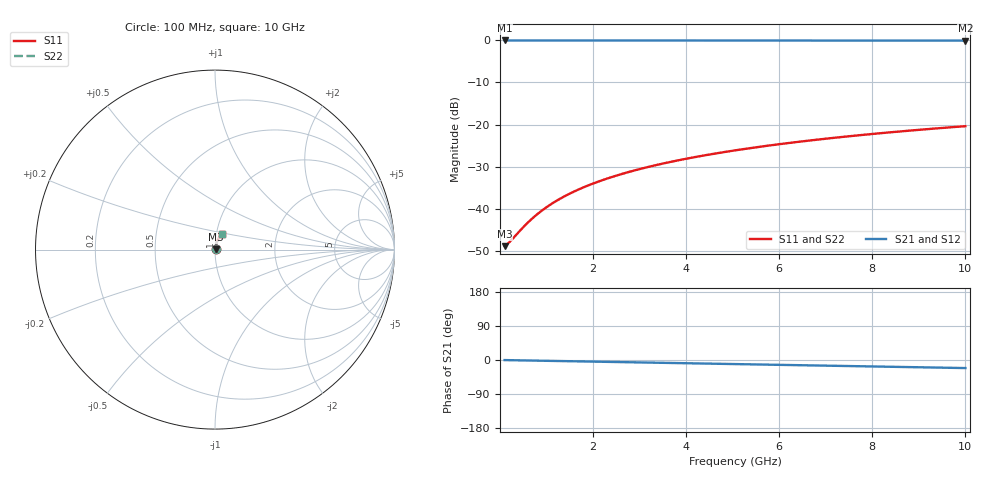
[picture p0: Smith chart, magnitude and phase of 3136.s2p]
# Hz S RI R 50.00
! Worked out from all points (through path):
!   100 points, 100 MHz to 10 GHz, reference 50 ohm
!   highest |S21| = -0.03 dB at 100 MHz (marker M1); lowest = -0.1 dB at 10 GHz (marker M2)
!   group delay of S21, straight-line fit = 5.91 ps
!   lowest |S11| = -48.9 dB at 100 MHz (marker M3), VSWR 1.01, Z = 50.3 + j0.0976 ohm
!   |S11| at or under -10 dB: start of sweep to end of sweep
!   |S22| runs from -48.9 to -20.4 dB; largest |S21 - S12| = 0
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1e8  0.00347 0.000969  0.9965 -0.00371  0.9965 -0.00371  0.00347 0.000969
2e8  0.0035 0.00194  0.9965 -0.00741  0.9965 -0.00741  0.0035 0.00194
5e8  0.00362 0.00484  0.9963 -0.0185  0.9963 -0.0185  0.00362 0.00484
6e8  0.00367 0.00581  0.9962 -0.0222  0.9962 -0.0222  0.00367 0.00581
7e8  0.00372 0.00678  0.9961 -0.0259  0.9961 -0.0259  0.00372 0.00678
9e8  0.00385 0.00871  0.9958 -0.0333  0.9958 -0.0333  0.00385 0.00871
1.1e9  0.00401 0.0106  0.9955 -0.0407  0.9955 -0.0407  0.00401 0.0106
1.3e9  0.00419 0.0126  0.9951 -0.0482  0.9951 -0.0482  0.00419 0.0126
1.5e9  0.0044 0.0145  0.9947 -0.0555  0.9947 -0.0555  0.0044 0.0145
1.8e9  0.00477 0.0174  0.994 -0.0666  0.994 -0.0666  0.00477 0.0174
2.1e9  0.00521 0.0203  0.9931 -0.0777  0.9931 -0.0777  0.00521 0.0203
2.5e9  0.00588 0.0241  0.9917 -0.0925  0.9917 -0.0925  0.00588 0.0241
2.9e9  0.00667 0.0279  0.9901 -0.1072  0.9901 -0.1072  0.00667 0.0279
3.4e9  0.00781 0.0326  0.9878 -0.1256  0.9878 -0.1256  0.00781 0.0326
3.8e9  0.00885 0.0363  0.9856 -0.1402  0.9856 -0.1402  0.00885 0.0363
4.2e9  0.01 0.04  0.9833 -0.1548  0.9833 -0.1548  0.01 0.04
5.1e9  0.013 0.0481  0.9771 -0.1876  0.9771 -0.1876  0.013 0.0481
5.9e9  0.0161 0.0552  0.9707 -0.2164  0.9707 -0.2164  0.0161 0.0552
6.7e9  0.0196 0.0621  0.9633 -0.2451  0.9633 -0.2451  0.0196 0.0621
7.5e9  0.0235 0.0687  0.9551 -0.2734  0.9551 -0.2734  0.0235 0.0687
8.4e9  0.0284 0.0759  0.9448 -0.3049  0.9448 -0.3049  0.0284 0.0759
1e10  0.0382 0.0878  0.9238 -0.3599  0.9238 -0.3599  0.0382 0.0878
